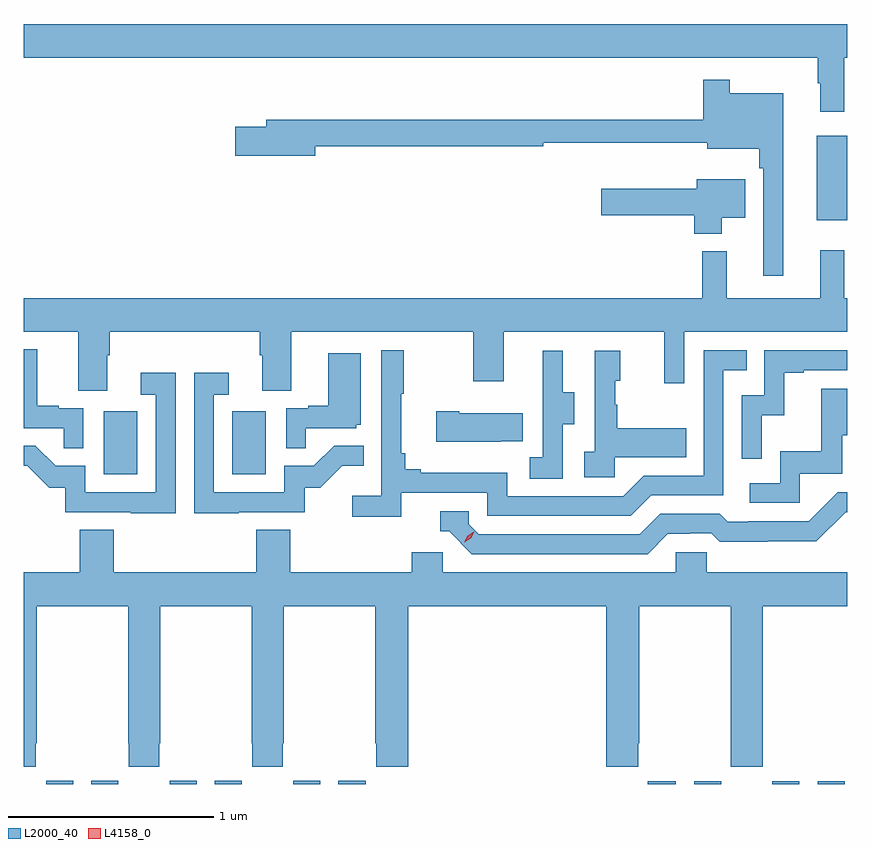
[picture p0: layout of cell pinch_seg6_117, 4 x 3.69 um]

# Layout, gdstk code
import gdstk
lib = gdstk.Library(unit=1e-6, precision=1e-09)
def R(c, l, rs):  # rectangles x0, y0, x1, y1
    for r in rs: c.add(gdstk.rectangle(r[:2], r[2:], *l))
def P(c, l, *ps):  # polygons
    for p in ps: c.add(gdstk.Polygon(p, *l))
L2000_40 = (2000, 40)
L4158_0 = (4158, 0)

pinch_seg6_117 = lib.new_cell('pinch_seg6_117')
R(pinch_seg6_117, L2000_40, [(949.41,921.164,949.54,921.181), (949.628,921.164,949.758,921.181), (950.01,921.164,950.14,921.181), (950.228,921.164,950.358,921.181), (950.61,921.164,950.74,921.181), (950.828,921.164,950.962,921.181), (952.331,921.164,952.468,921.178), (952.556,921.164,952.687,921.178), (952.937,921.164,953.068,921.178), (953.156,921.164,953.287,921.178), (949.688,922.668,949.852,922.975), (950.312,922.668,950.476,922.975), (953.153,923.903,953.3,924.313)])
P(pinch_seg6_117, L2000_40, [(953.285,924.692),(953.3,924.692),(953.3,924.856),(949.3,924.856),(949.3,924.692),(953.157,924.692),(953.157,924.569),(953.168,924.569),(953.168,924.429),(953.285,924.429)],
  [(952.99,924.52),(952.729,924.52),(952.729,924.586),(952.6,924.586),(952.6,924.391),(950.477,924.391),(950.477,924.357),(950.328,924.357),(950.328,924.215),(950.716,924.215),(950.716,924.262),(951.823,924.262),(951.823,924.28),(952.619,924.28),(952.619,924.251),(952.873,924.251),(952.873,924.155),(952.893,924.155),(952.893,923.634),(952.99,923.634)],
  [(952.69,923.915),(952.804,923.915),(952.804,924.103),(952.568,924.103),(952.568,924.055),(952.104,924.055),(952.104,923.926),(952.556,923.926),(952.556,923.837),(952.69,923.837)],
  [(949.705,923.248),(949.718,923.248),(949.718,923.36),(950.447,923.36),(950.447,923.248),(950.459,923.248),(950.459,923.074),(950.599,923.074),(950.599,923.36),(951.484,923.36),(951.484,923.121),(951.631,923.121),(951.631,923.36),(952.412,923.36),(952.412,923.112),(952.509,923.112),(952.509,923.36),(953.3,923.36),(953.3,923.524),(953.285,923.524),(953.285,923.758),(953.168,923.758),(953.168,923.524),(952.715,923.524),(952.715,923.752),(952.597,923.752),(952.597,923.524),(949.3,923.524),(949.3,923.36),(949.565,923.36),(949.565,923.074),(949.705,923.074)],
  [(949.59,922.989),(949.469,922.989),(949.469,923.002),(949.366,923.002),(949.366,923.275),(949.3,923.275),(949.3,922.893),(949.495,922.893),(949.495,922.795),(949.59,922.795)],
  [(951.134,922.578),(951.552,922.578),(951.552,922.467),(952.249,922.467),(952.348,922.566),(952.698,922.566),(952.698,923.175),(952.811,923.175),(952.811,923.271),(952.602,923.271),(952.602,922.662),(952.311,922.662),(952.212,922.563),(951.648,922.563),(951.648,922.675),(951.229,922.675),(951.229,922.694),(951.152,922.694),(951.152,922.771),(951.133,922.771),(951.133,923.059),(951.145,923.059),(951.145,923.272),(951.036,923.272),(951.036,922.564),(950.895,922.564),(950.895,922.462),(951.134,922.462)],
  [(952.884,922.955),(952.994,922.955),(952.994,923.163),(953.089,923.163),(953.089,923.175),(953.3,923.175),(953.3,923.271),(952.896,923.271),(952.896,923.052),(952.788,923.052),(952.788,922.743),(952.884,922.743)],
  [(952.17,922.751),(952.517,922.751),(952.517,922.891),(952.183,922.891),(952.183,923.006),(952.173,923.006),(952.173,923.124),(952.198,923.124),(952.198,923.269),(952.074,923.269),(952.074,922.778),(952.023,922.778),(952.023,922.653),(952.17,922.653)],
  [(951.918,922.912),(951.973,922.912),(951.973,923.067),(951.919,923.067),(951.919,923.269),(951.821,923.269),(951.821,923.055),(951.822,923.055),(951.822,922.751),(951.759,922.751),(951.759,922.648),(951.918,922.648)],
  [(950.669,922.893),(950.916,922.893),(950.916,922.908),(950.938,922.908),(950.938,923.257),(950.78,923.257),(950.78,923.002),(950.681,923.002),(950.681,922.989),(950.574,922.989),(950.574,922.795),(950.669,922.795)],
  [(950.037,923.161),(949.869,923.161),(949.869,923.055),(949.941,923.055),(949.941,922.581),(949.599,922.581),(949.599,922.71),(949.454,922.71),(949.356,922.808),(949.3,922.808),(949.3,922.709),(949.317,922.709),(949.424,922.602),(949.501,922.602),(949.501,922.485),(949.819,922.485),(949.819,922.48),(950.037,922.48)],
  [(950.345,922.485),(950.664,922.485),(950.664,922.602),(950.74,922.602),(950.847,922.709),(950.951,922.709),(950.951,922.808),(950.807,922.808),(950.709,922.71),(950.565,922.71),(950.565,922.581),(950.223,922.581),(950.223,923.055),(950.296,923.055),(950.296,923.161),(950.127,923.161),(950.127,922.48),(950.345,922.48)],
  [(953.07,922.671),(953.275,922.671),(953.275,922.857),(953.3,922.857),(953.3,923.083),(953.173,923.083),(953.173,922.78),(952.974,922.78),(952.974,922.626),(952.827,922.626),(952.827,922.53),(953.07,922.53)],
  [(951.617,922.829),(951.725,922.829),(951.725,922.966),(951.415,922.966),(951.415,922.974),(951.303,922.974),(951.303,922.826),(951.617,922.826)],
  [(952.429,922.38),(952.536,922.38),(952.536,922.383),(952.639,922.383),(952.681,922.341),(952.914,922.341),(952.914,922.343),(953.15,922.343),(953.292,922.485),(953.3,922.485),(953.3,922.581),(953.253,922.581),(953.112,922.44),(952.819,922.44),(952.819,922.437),(952.72,922.437),(952.681,922.476),(952.392,922.476),(952.293,922.377),(951.51,922.377),(951.462,922.425),(951.462,922.488),(951.323,922.488),(951.323,922.392),(951.366,922.392),(951.477,922.281),(952.33,922.281)],
  [(949.359,921.361),(949.362,921.361),(949.362,922.028),(949.807,922.028),(949.807,921.361),(949.809,921.361),(949.809,921.249),(949.959,921.249),(949.959,921.361),(949.962,921.361),(949.962,922.028),(950.407,922.028),(950.407,921.361),(950.409,921.361),(950.409,921.249),(950.559,921.249),(950.559,921.361),(950.562,921.361),(950.562,922.028),(951.007,922.028),(951.007,921.361),(951.013,921.361),(951.013,921.249),(951.167,921.249),(951.167,922.028),(952.13,922.028),(952.13,921.249),(952.285,921.249),(952.285,921.361),(952.29,921.361),(952.29,922.028),(952.735,922.028),(952.735,921.249),(952.89,921.249),(952.89,922.028),(953.3,922.028),(953.3,922.192),(952.617,922.192),(952.617,922.29),(952.467,922.29),(952.467,922.192),(951.336,922.192),(951.336,922.29),(951.185,922.29),(951.185,922.192),(950.594,922.192),(950.594,922.4),(950.429,922.4),(950.429,922.192),(949.736,922.192),(949.736,922.4),(949.571,922.4),(949.571,922.192),(949.3,922.192),(949.3,921.249),(949.359,921.249)])
P(pinch_seg6_117, L4158_0, [(951.44,922.338),(951.44,922.338),(951.456,922.371),(951.487,922.39),(951.488,922.39),(951.488,922.389),(951.471,922.357),(951.44,922.338)])

lib.write_gds('pinch_seg6_117.gds')
